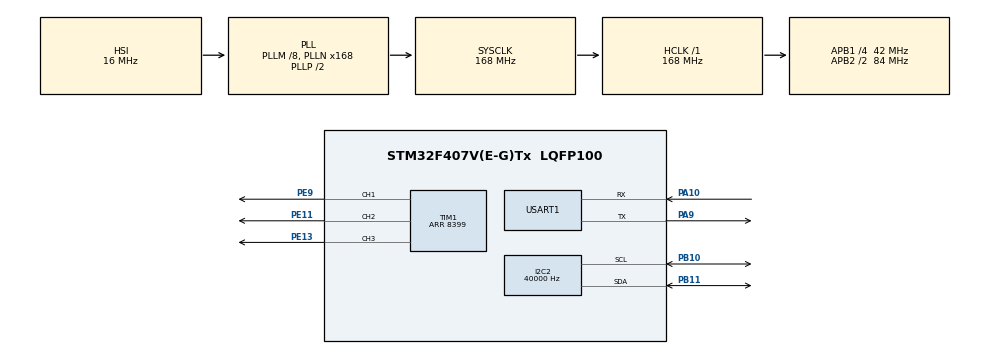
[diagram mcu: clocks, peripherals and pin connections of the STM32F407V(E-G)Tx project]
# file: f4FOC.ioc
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I2C2.ClockSpeed=40000
Mcu.Family=STM32F4
Mcu.Name=STM32F407V(E-G)Tx
Mcu.Package=LQFP100
NVIC.PriorityGroup=NVIC_PRIORITYGROUP_4
PA10.Mode=Asynchronous
PA10.Signal=USART1_RX
PA13.Mode=Serial_Wire
PA13.Signal=SYS_JTMS-SWDIO
PA14.Mode=Serial_Wire
PA14.Signal=SYS_JTCK-SWCLK
PA9.Mode=Asynchronous
PA9.Signal=USART1_TX
PB10.Mode=I2C
PB10.Signal=I2C2_SCL
PB11.Mode=I2C
PB11.Signal=I2C2_SDA
PE11.Signal=S_TIM1_CH2
PE13.Signal=S_TIM1_CH3
PE9.Signal=S_TIM1_CH1
PH0-OSC_IN.Mode=HSE-External-Oscillator
PH0-OSC_IN.Signal=RCC_OSC_IN
PH1-OSC_OUT.Mode=HSE-External-Oscillator
PH1-OSC_OUT.Signal=RCC_OSC_OUT
ProjectManager.HeapSize=0x200
ProjectManager.StackSize=0x400
ProjectManager.TargetToolchain=MDK-ARM V5.32
RCC.48MHZClocksFreq_Value=84000000
RCC.AHBFreq_Value=168000000
RCC.APB1CLKDivider=RCC_HCLK_DIV4
RCC.APB1Freq_Value=42000000
RCC.APB1TimFreq_Value=84000000
RCC.APB2CLKDivider=RCC_HCLK_DIV2
RCC.APB2Freq_Value=84000000
RCC.APB2TimFreq_Value=168000000
RCC.CortexFreq_Value=168000000
RCC.HCLKFreq_Value=168000000
RCC.HSE_VALUE=25000000
RCC.HSI_VALUE=16000000
RCC.LSE_VALUE=32768
RCC.PLLM=8
RCC.PLLN=168
RCC.SYSCLKFreq_VALUE=168000000
RCC.SYSCLKSource=RCC_SYSCLKSOURCE_PLLCLK
RCC.VCOOutputFreq_Value=336000000
SH.S_TIM1_CH1.0=TIM1_CH1,PWM Generation1 CH1
SH.S_TIM1_CH2.0=TIM1_CH2,PWM Generation2 CH2
SH.S_TIM1_CH3.0=TIM1_CH3,PWM Generation3 CH3
TIM1.AutoReloadPreload=TIM_AUTORELOAD_PRELOAD_ENABLE
TIM1.Channel-PWM\ Generation1\ CH1=TIM_CHANNEL_1
TIM1.Channel-PWM\ Generation2\ CH2=TIM_CHANNEL_2
TIM1.Channel-PWM\ Generation3\ CH3=TIM_CHANNEL_3
TIM1.Period=8399
USART1.VirtualMode=VM_ASYNC
VP_TIM1_VS_ClockSourceINT.Mode=Internal
board=custom

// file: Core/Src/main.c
/* USER CODE BEGIN Header */
/**
  ******************************************************************************
  * @file           : main.c
  * @brief          : Main program body
  ******************************************************************************
  * @attention
  *
  * Copyright (c) 2026 STMicroelectronics.
  * All rights reserved.
  *
  * This software is licensed under terms that can be found in the LICENSE file
  * in the root directory of this software component.
  * If no LICENSE file comes with this software, it is provided AS-IS.
  *
  ******************************************************************************
  */
/* USER CODE END Header */
#include "main.h"
#include "i2c.h"
#include "tim.h"
#include "usart.h"
#include "gpio.h"

/* USER CODE BEGIN Includes */
#include "math.h"
#include "stdio.h"
#include "string.h"
#include "foc_driver.h" // 引入 FOC 驱动库
/* USER CODE END Includes */

/* USER CODE BEGIN PV */
FOC_t motor1;
uint32_t last_tick = 0;
char debug_buf[128]; // 调试缓冲区
/* USER CODE END PV */

void SystemClock_Config(void);
/* USER CODE BEGIN PFP */
// 函数声明
void FOC_Init(FOC_t *hfoc, float v_supply, float v_limit, int dir, int pp);
void FOC_PWM_Config(FOC_t *hfoc, TIM_HandleTypeDef *t1, TIM_HandleTypeDef *t2, TIM_HandleTypeDef *t3, uint32_t ch1, uint32_t ch2, uint32_t ch3);
void FOC_Alignment(FOC_t *hfoc); // 零位校准
void FOC_Loop(FOC_t *hfoc, float dt); // 主循环，传入时间间隔 dt (秒)

// PID 相关工具
void PID_Init(PID_State_t *pid, PID_Param_t *param, float kp, float ki, float kd, float out_max);
float PID_Calc(PID_State_t *pid, PID_Param_t *param, float error, float dt); // 增加 dt 参数
/* USER CODE END PFP */

//===================AS5600角度读取=====================
void AS5600_WriteData(uint8_t Wordaddress, uint8_t Data)//这个一般用不到默认就是读取角度的
{
	/* HAL expects 7-bit address (no R/W bit) in most STM32 HAL versions. */
	uint8_t buf = Data;
	HAL_I2C_Mem_Write(&hi2c2, (uint16_t)(AS5600_I2C_ADDR << 1), Wordaddress, I2C_MEMADD_SIZE_8BIT, &buf, 1, AS5600_I2C_TIMEOUT_MS);
}

uint8_t AS5600_ReadData(uint8_t Wordaddress)
{
	uint8_t buf = 0;
	HAL_I2C_Mem_Read(&hi2c2, (uint16_t)(AS5600_I2C_ADDR << 1), Wordaddress, I2C_MEMADD_SIZE_8BIT, &buf, 1, AS5600_I2C_TIMEOUT_MS);
	return buf;
}

uint16_t AS5600_ReadRawAngle(void)//机械角度
{
	uint8_t hi = AS5600_ReadData(AS5600_RAW_HI_REG);
	uint8_t lo = AS5600_ReadData(AS5600_RAW_LO_REG);
	uint16_t val = ((uint16_t)hi << 8) | (uint16_t)lo;
	val &= 0x0FFF;
	return val;
}

static float _normalizeAngle(float angle) {
    float a = fmod(angle, 2 * PI);
    return a >= 0 ? a : (a + 2 * PI);
}

/**
 * @brief 具体的编码器读取实现 (整合 AS5600)
 * @param dt: 时间间隔，用于计算速度
 */
void IIC_Encoder_Read(Encoder_t *enc, float dt) {
    // 1. 读取原始角度 (0 ~ 4095)
    uint16_t raw_val = AS5600_ReadRawAngle();

    // 2. 转换为弧度 (0 ~ 2PI)
    float val_rad = (float)raw_val * 2.0f * PI / 4096.0f;

    // 3. 计算角度变化量 (用于累计角度和速度)
    float d_angle = val_rad - enc->angle_raw;

    // 处理 0 <-> 2PI 的跳变
    if (d_angle > PI) d_angle -= 2 * PI;
    else if (d_angle < -PI) d_angle += 2 * PI;

    // 4. 更新结构体
    enc->angle_raw = val_rad;
    enc->angle_consequent += d_angle; // 累计多圈角度

    // 5. 计算速度 (带简单低通滤波)
    if (dt > 0.0001f) {
        float new_vel = d_angle / dt;
        // LPF: 80% 旧速度 + 20% 新速度，减少噪声
        enc->velocity = 0.8f * enc->velocity + 0.2f * new_vel;
    }
}
// =======
// 使用宏定义 LIMIT 替代原来的 _limit 函数
#define LIMIT(x, min, max) ((x) < (min) ? (min) : ((x) > (max) ? (max) : (x)))

/**
 * @brief 底层 PWM 设置函数 (包含 SVPWM 零序分量注入)
 * 这里输入的是通过克拉克逆变换得到的 Ua, Ub, Uc (物理电压值)
 */
static void _setPwm(FOC_t *hfoc, float Ua, float Ub, float Uc) {
    // -----------------------------------------------------------
    // SVPWM 核心算法：零序分量注入 (Zero Sequence Injection)
    // -----------------------------------------------------------
    // 这一步将原本的正弦波 (SPWM) 变成了 马鞍波 (SVPWM)
    // 作用：防止波峰削顶，使直流母线电压利用率提高约 15.47%

    // 1. 找出三相电压中的最大值和最小值
    // 使用标准库函数 fminf/fmaxf 替代繁琐的 if 判断，逻辑更清晰
    float v_min = fminf(Ua, fminf(Ub, Uc));
    float v_max = fmaxf(Ua, fmaxf(Ub, Uc));

    // 2. 计算中心偏置电压 (零序分量)
    float v_center = -0.5f * (v_min + v_max);

    // 3. 将偏置注入原电压 (生成马鞍波)
    float Ua_out = Ua + v_center;
    float Ub_out = Ub + v_center;
    float Uc_out = Uc + v_center;

    // -----------------------------------------------------------
    // PWM 占空比计算
    // -----------------------------------------------------------

    // 4. 限制电压范围 (防止超出电源电压)
    // 注意：SVPWM 后，相电压峰值实际上可以达到 voltage_ps / sqrt(3)
    // 这里简单限制在 voltage_limit 内
    Ua_out = LIMIT(Ua_out, -hfoc->voltage_limit, hfoc->voltage_limit);
    Ub_out = LIMIT(Ub_out, -hfoc->voltage_limit, hfoc->voltage_limit);
    Uc_out = LIMIT(Uc_out, -hfoc->voltage_limit, hfoc->voltage_limit);

    // 5. 归一化并计算占空比 (0.0 ~ 1.0)
    // 电压范围是 [-V_supply/2, +V_supply/2] -> 映射到 [0, 1]
    float dc_a = LIMIT((Ua_out / hfoc->voltage_ps) + 0.5f, 0.0f, 1.0f);
    float dc_b = LIMIT((Ub_out / hfoc->voltage_ps) + 0.5f, 0.0f, 1.0f);
    float dc_c = LIMIT((Uc_out / hfoc->voltage_ps) + 0.5f, 0.0f, 1.0f);

    // 6. 写入硬件寄存器
    __HAL_TIM_SetCompare(hfoc->PWMPin.tim1, hfoc->PWMPin.PIN1, (uint32_t)(dc_a * hfoc->PWMPin.tim1->Init.Period));
    __HAL_TIM_SetCompare(hfoc->PWMPin.tim2, hfoc->PWMPin.PIN2, (uint32_t)(dc_b * hfoc->PWMPin.tim2->Init.Period));
    __HAL_TIM_SetCompare(hfoc->PWMPin.tim3, hfoc->PWMPin.PIN3, (uint32_t)(dc_c * hfoc->PWMPin.tim3->Init.Period));
}

// --- PID 模块 ---

void PID_Init(PID_State_t *pid, PID_Param_t *param, float kp, float ki, float kd, float out_max) {
    memset(pid, 0, sizeof(PID_State_t));
    param->kp = kp;
    param->ki = ki;
    param->kd = kd;
    param->output_max = out_max;
    param->sum_max = out_max;
}

float PID_Calc(PID_State_t *pid, PID_Param_t *param, float error, float dt) {
    float d_error;
    float output;

    if (dt <= 0.000001f) dt = 0.001f;

    pid->err = error;

    pid->sum += param->ki * pid->err * dt;
    pid->sum = LIMIT(pid->sum, -param->sum_max, param->sum_max);

    d_error = (pid->err - pid->err_last) / dt;
    pid->err_last = pid->err;

    output = (param->kp * pid->err) + pid->sum + (param->kd * d_error);

    output = LIMIT(output, -param->output_max, param->output_max);

    pid->output = output;
    return output;
}

// --- FOC 核心模块 ---

void FOC_Init(FOC_t *hfoc, float v_supply, float v_limit, int dir, int pp) {
    memset(hfoc, 0, sizeof(FOC_t));
    hfoc->voltage_ps = v_supply;
    hfoc->voltage_limit = (v_limit > v_supply) ? v_supply : v_limit;
    hfoc->dir = dir;
    hfoc->pp = pp;
    hfoc->mode = FOC_MODE_TORQUE;
}

void FOC_PWM_Config(FOC_t *hfoc, TIM_HandleTypeDef *t1, TIM_HandleTypeDef *t2, TIM_HandleTypeDef *t3, uint32_t ch1, uint32_t ch2, uint32_t ch3) {
    hfoc->PWMPin.tim1 = t1;
    hfoc->PWMPin.tim2 = t2;
    hfoc->PWMPin.tim3 = t3;
    hfoc->PWMPin.PIN1 = ch1;
    hfoc->PWMPin.PIN2 = ch2;
    hfoc->PWMPin.PIN3 = ch3;

    HAL_TIM_PWM_Start(t1, ch1);
    HAL_TIM_PWM_Start(t2, ch2);
    HAL_TIM_PWM_Start(t3, ch3);
}

float FOC_Get_ElectricalAngle(FOC_t *hfoc) {
    return _normalizeAngle((float)(hfoc->dir * hfoc->pp) * hfoc->encoder.angle_raw - hfoc->zero_electric_angle);
}

/**
 * @brief 设置力矩 (执行 Park逆变换 和 Clarke逆变换)
 * @param Uq Q轴电压
 * @param Ud D轴电压
 * @param angle_el 电角度
 */
void FOC_SetTorque(FOC_t *hfoc, float Uq, float Ud, float angle_el) {
    angle_el = _normalizeAngle(angle_el);
    float s = sinf(angle_el);
    float c = cosf(angle_el);

    // 1. Park 逆变换 (Inverse Park Transform)
    // 作用：将旋转坐标系 (Ud, Uq) 转换到 两相静止坐标系 (Alpha, Beta)
    hfoc->u_alpha = Ud * c - Uq * s;
    hfoc->u_beta  = Ud * s + Uq * c;

    // 2. Clarke 逆变换 (Inverse Clarke Transform)
    // 作用：将两相静止坐标系 (Alpha, Beta) 转换到 三相静止坐标系 (a, b, c)
    // 公式：
    // Ua = Ualpha
    // Ub = -0.5 * Ualpha + (sqrt(3)/2) * Ubeta
    // Uc = -0.5 * Ualpha - (sqrt(3)/2) * Ubeta
    hfoc->u_a = hfoc->u_alpha;
    hfoc->u_b = (-0.5f * hfoc->u_alpha) + (_SQRT3 / 2.0f * hfoc->u_beta);
    hfoc->u_c = (-0.5f * hfoc->u_alpha) - (_SQRT3 / 2.0f * hfoc->u_beta);

    // 3. 发送给 PWM 生成函数 (内部包含 SVPWM 处理)
    _setPwm(hfoc, hfoc->u_a, hfoc->u_b, hfoc->u_c);
}
void FOC_Alignment(FOC_t *hfoc) {
    float align_voltage = 3.0f;

    // 使用 Ud (励磁) 校准到 0度 Alpha轴
    FOC_SetTorque(hfoc, 0, align_voltage, 0);

    HAL_Delay(2000);

    // 多读几次确保稳定 (丢弃前几次可能不稳定的值)
    for(int i=0; i<10; i++) {
        IIC_Encoder_Read(&hfoc->encoder, 0);
        HAL_Delay(10);
    }

    // 记录零点
    hfoc->zero_electric_angle = _normalizeAngle((float)(hfoc->dir * hfoc->pp) * hfoc->encoder.angle_raw);

    FOC_SetTorque(hfoc, 0, 0, 0);
}

static float open_loop_angle = 0.0f;

void FOC_Loop(FOC_t *hfoc, float dt) {
    // 1. 始终读取编码器，用于调试观察 (即使在开环模式下)
    IIC_Encoder_Read(&hfoc->encoder, dt);

    float target_voltage_q = 2.5f;
    float target_voltage_d = 0.0f;

    switch (hfoc->mode) {
        case FOC_MODE_OPEN_LOOP:
            // === 开环测试模式 (神器) ===
            // 目标值 = 目标速度 (rad/s)
            // 完全无视编码器，强制让磁场转起来
            open_loop_angle += hfoc->target_value * dt;
            open_loop_angle = _normalizeAngle(open_loop_angle);
            hfoc->electrical_angle = open_loop_angle;

            // 给一个固定的电压，比如 2.5V (太低转不动，太高发烫)
            // 你可以根据发热情况调整这里的 2.5f
            target_voltage_q = 2.5f;
            target_voltage_d = 0.0f;
            break;

        case FOC_MODE_TORQUE:
            hfoc->electrical_angle = FOC_Get_ElectricalAngle(hfoc);
            target_voltage_q = hfoc->target_value;
            break;

        case FOC_MODE_VELOCITY:
            hfoc->electrical_angle = FOC_Get_ElectricalAngle(hfoc);
            // 速度环
            target_voltage_q = PID_Calc(&hfoc->pid_vel, &hfoc->param_vel, hfoc->target_value - hfoc->encoder.velocity, dt);
            break;

        case FOC_MODE_ANGLE:
            hfoc->electrical_angle = FOC_Get_ElectricalAngle(hfoc);
            // 位置环 -> 速度环
            {
                float pos_error = hfoc->target_value - hfoc->encoder.angle_consequent;
                float target_vel = PID_Calc(&hfoc->pid_pos, &hfoc->param_pos, pos_error, dt);
                target_voltage_q = PID_Calc(&hfoc->pid_vel, &hfoc->param_vel, target_vel - hfoc->encoder.velocity, dt);
            }
            break;
    }

    // 输出
    FOC_SetTorque(hfoc, target_voltage_q, target_voltage_d, hfoc->electrical_angle);
}
/* USER CODE END 0 */

int main(void)
{

  /* MCU Configuration--------------------------------------------------------*/

  /* Reset of all peripherals, Initializes the Flash interface and the Systick. */
  HAL_Init();

  /* Configure the system clock */
  SystemClock_Config();

  /* Initialize all configured peripherals */
  MX_GPIO_Init();
  MX_TIM1_Init();
  MX_USART1_UART_Init();
  MX_I2C2_Init();

  /* Infinite loop */
  /* USER CODE BEGIN WHILE */
  // ==================== 3. FOC 初始化设置 ====================

  // (A) 初始化 FOC
  // 【严重发热修复 1】：电压限制从 5.0V 降级到 3.0V！
  // 【严重发热修复 2】：方向从 1 改为 -1！这是最常见的发热原因。
  // 如果改成 -1 后还是发热且不转，再改回 1，并检查极对数是不是填错了。
  FOC_Init(&motor1, 12.0f, 5.0f, -1, 7);

  // (B) 配置 PWM
  FOC_PWM_Config(&motor1, &htim1, &htim1, &htim1, TIM_CHANNEL_1, TIM_CHANNEL_2, TIM_CHANNEL_3);
  // __HAL_TIM_MOE_ENABLE(&htim1);

  // (C) 配置 PID 参数
  // 速度环: 限幅也同步降到 3.0V
  PID_Init(&motor1.pid_vel, &motor1.param_vel, 0.1f, 1.0f, 0.0f, 3.0f);

  // 位置环: 暂时不用
  PID_Init(&motor1.pid_pos, &motor1.param_pos, 5.0f, 0.0f, 0.0f, 20.0f);

  // (D) 传感器校准
  FOC_Alignment(&motor1);

  // (E) 设定为速度模式
  motor1.mode = FOC_MODE_VELOCITY;
  motor1.target_value = 5.0f; // 目标 5 rad/s

  float last_tick = HAL_GetTick();

  while (1)
  {
   // ==================== 4. 主循环调用 ====================
    uint32_t now = HAL_GetTick();
    float dt = (now - last_tick) / 1000.0f;

    // 保持 1kHz 频率 (每1ms一次)
    if (dt >= 0.001f) {
        last_tick = now;
        FOC_Loop(&motor1, dt);

        // ==================== 5. 调试数据打印 (每100ms打印一次) ====================
        static int print_count = 0;
        print_count++;
        if (print_count >= 100) {
            print_count = 0;

            // 打印格式：Target, Actual, Voltage
            sprintf(debug_buf, "%.2f,%.2f,%.2f\r\n",
                    motor1.target_value,
                    motor1.encoder.velocity,
                    motor1.pid_vel.output);

            HAL_UART_Transmit(&huart1, (uint8_t*)debug_buf, strlen(debug_buf), 10);
        }
      }
/****************************测试编码器**************************/
	// 	float b =AS5600_ReadRawAngle();
	// 	float a = AS5600_GetAngle_Radians(b);
	// 	sprintf(temp_buffer, "%.2f,%.2f\n", a,b);
  //  HAL_UART_Transmit(&huart1, (uint8_t*)temp_buffer, strlen(temp_buffer), 100);
	// 	HAL_Delay(100);
/****************************************************************/
    /* USER CODE END WHILE */

  }
}

void SystemClock_Config(void)
{
  RCC_OscInitTypeDef RCC_OscInitStruct = {0};
  RCC_ClkInitTypeDef RCC_ClkInitStruct = {0};

  /** Configure the main internal regulator output voltage
  */
  __HAL_RCC_PWR_CLK_ENABLE();
  __HAL_PWR_VOLTAGESCALING_CONFIG(PWR_REGULATOR_VOLTAGE_SCALE1);

  /** Initializes the RCC Oscillators according to the specified parameters
  * in the RCC_OscInitTypeDef structure.
  */
  RCC_OscInitStruct.OscillatorType = RCC_OSCILLATORTYPE_HSI;
  RCC_OscInitStruct.HSIState = RCC_HSI_ON;
  RCC_OscInitStruct.HSICalibrationValue = RCC_HSICALIBRATION_DEFAULT;
  RCC_OscInitStruct.PLL.PLLState = RCC_PLL_ON;
  RCC_OscInitStruct.PLL.PLLSource = RCC_PLLSOURCE_HSI;
  RCC_OscInitStruct.PLL.PLLM = 8;
  RCC_OscInitStruct.PLL.PLLN = 168;
  RCC_OscInitStruct.PLL.PLLP = RCC_PLLP_DIV2;
  RCC_OscInitStruct.PLL.PLLQ = 4;
  if (HAL_RCC_OscConfig(&RCC_OscInitStruct) != HAL_OK)
  {
    Error_Handler();
  }

  /** Initializes the CPU, AHB and APB buses clocks
  */
  RCC_ClkInitStruct.ClockType = RCC_CLOCKTYPE_HCLK|RCC_CLOCKTYPE_SYSCLK
                              |RCC_CLOCKTYPE_PCLK1|RCC_CLOCKTYPE_PCLK2;
  RCC_ClkInitStruct.SYSCLKSource = RCC_SYSCLKSOURCE_PLLCLK;
  RCC_ClkInitStruct.AHBCLKDivider = RCC_SYSCLK_DIV1;
  RCC_ClkInitStruct.APB1CLKDivider = RCC_HCLK_DIV4;
  RCC_ClkInitStruct.APB2CLKDivider = RCC_HCLK_DIV2;

  if (HAL_RCC_ClockConfig(&RCC_ClkInitStruct, FLASH_LATENCY_5) != HAL_OK)
  {
    Error_Handler();
  }
}

void Error_Handler(void)
{
  __disable_irq();
  while (1)
  {
  }
}
